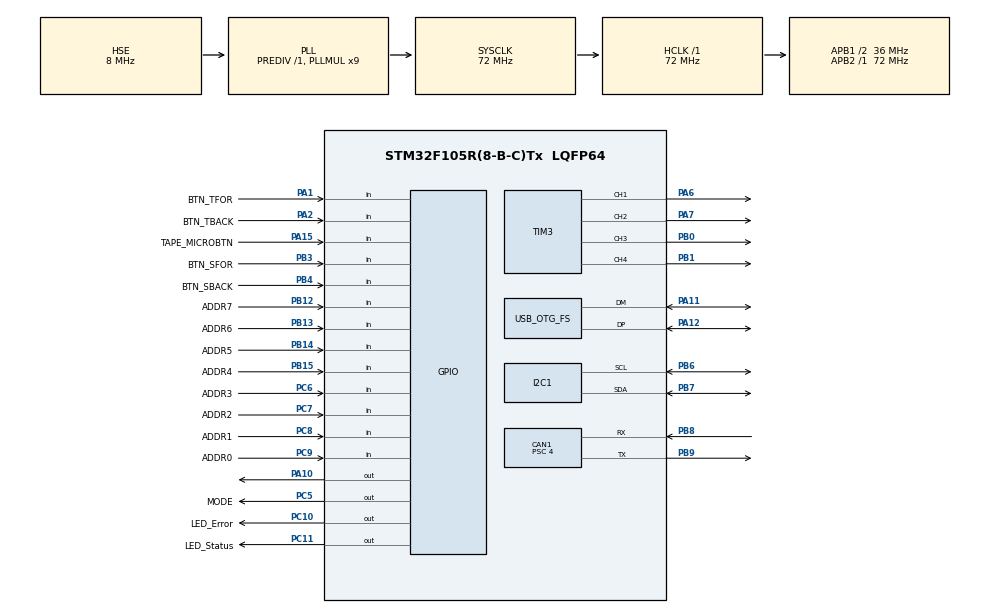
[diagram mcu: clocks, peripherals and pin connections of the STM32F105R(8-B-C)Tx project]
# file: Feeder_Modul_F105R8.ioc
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CAN1.BS1=CAN_BS1_13TQ
CAN1.BS2=CAN_BS2_4TQ
CAN1.CalculateBaudRate=500000
CAN1.CalculateTimeBit=1999.99
CAN1.CalculateTimeQuantum=111.11111111111111
CAN1.NART=ENABLE
CAN1.Prescaler=4
CAN1.SJW=CAN_SJW_4TQ
Mcu.Family=STM32F1
Mcu.Name=STM32F105R(8-B-C)Tx
Mcu.Package=LQFP64
NVIC.CAN1_RX0_IRQn=true\:0\:0\:false\:false\:true\:true\:true
NVIC.CAN1_RX1_IRQn=true\:0\:0\:false\:false\:true\:true\:true
NVIC.OTG_FS_IRQn=true\:0\:0\:false\:false\:true\:false\:true
NVIC.PriorityGroup=NVIC_PRIORITYGROUP_4
NVIC.TIM1_UP_IRQn=true\:0\:0\:false\:false\:true\:true\:true
PA1.GPIO_Label=BTN_TFOR
PA1.Signal=GPIO_Input
PA10.Signal=GPIO_Output
PA11.Mode=Host_Only
PA11.Signal=USB_OTG_FS_DM
PA12.Mode=Host_Only
PA12.Signal=USB_OTG_FS_DP
PA13.Mode=Serial_Wire
PA13.Signal=SYS_JTMS-SWDIO
PA14.Mode=Serial_Wire
PA14.Signal=SYS_JTCK-SWCLK
PA15.GPIO_Label=TAPE_MICROBTN
PA15.Signal=GPIO_Input
PA2.GPIO_Label=BTN_TBACK
PA2.Signal=GPIO_Input
PA6.Signal=S_TIM3_CH1
PA7.Signal=S_TIM3_CH2
PB0.Signal=S_TIM3_CH3
PB1.Signal=S_TIM3_CH4
PB12.GPIO_Label=ADDR7
PB12.Signal=GPIO_Input
PB13.GPIO_Label=ADDR6
PB13.Signal=GPIO_Input
PB14.GPIO_Label=ADDR5
PB14.Signal=GPIO_Input
PB15.GPIO_Label=ADDR4
PB15.Signal=GPIO_Input
PB3.GPIO_Label=BTN_SFOR
PB3.Signal=GPIO_Input
PB4.GPIO_Label=BTN_SBACK
PB4.Signal=GPIO_Input
PB6.Mode=I2C
PB6.Signal=I2C1_SCL
PB7.Mode=I2C
PB7.Signal=I2C1_SDA
PB8.Mode=CAN_Activate
PB8.Signal=CAN1_RX
PB9.Mode=CAN_Activate
PB9.Signal=CAN1_TX
PC10.GPIO_Label=LED_Error
PC10.Signal=GPIO_Output
PC11.GPIO_Label=LED_Status
PC11.Signal=GPIO_Output
PC5.GPIO_Label=MODE
PC5.Signal=GPIO_Output
PC6.GPIO_Label=ADDR3
PC6.Signal=GPIO_Input
PC7.GPIO_Label=ADDR2
PC7.Signal=GPIO_Input
PC8.GPIO_Label=ADDR1
PC8.Signal=GPIO_Input
PC9.GPIO_Label=ADDR0
PC9.Signal=GPIO_Input
PD0-OSC_IN.Mode=HSE-External-Oscillator
PD0-OSC_IN.Signal=RCC_OSC_IN
PD1-OSC_OUT.Mode=HSE-External-Oscillator
PD1-OSC_OUT.Signal=RCC_OSC_OUT
ProjectManager.HeapSize=0x200
ProjectManager.StackSize=0x400
ProjectManager.TargetToolchain=STM32CubeIDE
RCC.AHBFreq_Value=72000000
RCC.APB1CLKDivider=RCC_HCLK_DIV2
RCC.APB1Freq_Value=36000000
RCC.APB1TimFreq_Value=72000000
RCC.APB2Freq_Value=72000000
RCC.APB2TimFreq_Value=72000000
RCC.HCLKFreq_Value=72000000
RCC.PLL2Mul=RCC_PLL2_MUL13
RCC.PLLMUL=RCC_PLL_MUL9
RCC.Prediv2=RCC_HSE_PREDIV2_DIV2
RCC.SYSCLKFreq_VALUE=72000000
RCC.SYSCLKSource=RCC_SYSCLKSOURCE_PLLCLK
RCC.USBFreq_Value=48000000
SH.S_TIM3_CH1.0=TIM3_CH1,PWM Generation1 CH1
SH.S_TIM3_CH2.0=TIM3_CH2,PWM Generation2 CH2
SH.S_TIM3_CH3.0=TIM3_CH3,PWM Generation3 CH3
SH.S_TIM3_CH4.0=TIM3_CH4,PWM Generation4 CH4
TIM1.AutoReloadPreload=TIM_AUTORELOAD_PRELOAD_ENABLE
TIM1.Period=500
TIM1.Prescaler=48000
TIM3.Channel-PWM\ Generation1\ CH1=TIM_CHANNEL_1
TIM3.Channel-PWM\ Generation2\ CH2=TIM_CHANNEL_2
TIM3.Channel-PWM\ Generation3\ CH3=TIM_CHANNEL_3
TIM3.Channel-PWM\ Generation4\ CH4=TIM_CHANNEL_4
USB_HOST.BSP.number=1
USB_HOST.USBH_HandleTypeDef=hUsbHostFS
USB_HOST.VirtualModeFS=Hid
USB_HOST0.BSP.STBoard=false
USB_HOST0.BSP.api=Unknown
USB_HOST0.BSP.i2caddr=0
USB_HOST0.BSP.instance=PA10
USB_HOST0.BSP.ip=GPIO
USB_HOST0.BSP.mode=Output
USB_HOST0.BSP.name=Drive_VBUS_FS
USB_HOST0.BSP.solution=PA10
USB_OTG_FS.VirtualMode=Host_Only
VP_TIM1_VS_ClockSourceINT.Mode=Internal
VP_USB_HOST_VS_USB_HOST_HID_FS.Mode=HID_FS
board=custom

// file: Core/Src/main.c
/* USER CODE BEGIN Header */
/**
  ******************************************************************************
  * @file           : main.c
  * @brief          : Main program body
  ******************************************************************************
  * @attention
  *
  * <h2><center>&copy; Copyright (c) 2021 STMicroelectronics.
  * All rights reserved.</center></h2>
  *
  * This software component is licensed by ST under BSD 3-Clause license,
  * the "License"; You may not use this file except in compliance with the
  * License. You may obtain a copy of the License at:
  *                        opensource.org/licenses/BSD-3-Clause
  *
  ******************************************************************************
  */
/* USER CODE END Header */
#include "main.h"
#include "usb_host.h"

/* USER CODE BEGIN Includes */
#include "usbh_hid.h"
/* USER CODE END Includes */

CAN_HandleTypeDef hcan1;

I2C_HandleTypeDef hi2c1;

TIM_HandleTypeDef htim1;
TIM_HandleTypeDef htim3;

/* USER CODE BEGIN PV */

char barcode[100];
char* act_char= &barcode[0];

// variablen für can kommunikation
uint8_t ubKeyNumber = 0x0;
CAN_TxHeaderTypeDef   TxHeader;
CAN_RxHeaderTypeDef   RxHeader;
uint8_t               TxData[8];
uint8_t               RxData[8];
uint32_t              TxMailbox;

/* USER CODE END PV */

void SystemClock_Config(void);
static void MX_GPIO_Init(void);
static void MX_CAN1_Init(void);
static void MX_I2C1_Init(void);
static void MX_TIM1_Init(void);
static void MX_TIM3_Init(void);
void MX_USB_HOST_Process(void);

/* USER CODE BEGIN 0 */

void USBH_HID_EventCallback(USBH_HandleTypeDef *phost){
	if(USBH_HID_GetDeviceType(phost) == HID_KEYBOARD){
		HID_KEYBD_Info_TypeDef *keyboard_info;
		keyboard_info = USBH_HID_GetKeybdInfo(phost);
		char key = USBH_HID_GetASCIICode(keyboard_info);
		if(key == '\0')
			return;
		if(key == '\r' || key == '\n'){
			*act_char = '\0';
			act_char = &barcode[0];

		}
		else{
			*act_char++ = key;
		}

		if(act_char > &barcode[99])
			act_char = &barcode[0];

	}
}

/* USER CODE END 0 */

int main(void)
{
  /* USER CODE BEGIN 1 */
	uint8_t sprocket_started = 0;
	uint8_t tape_started = 0;

  /* USER CODE END 1 */

  /* MCU Configuration--------------------------------------------------------*/

  /* Reset of all peripherals, Initializes the Flash interface and the Systick. */
  HAL_Init();

  /* USER CODE BEGIN Init */
  //MX_GPIO_Init();
  //HAL_GPIO_WritePin(LED_Error_GPIO_Port, LED_Error_Pin, GPIO_PIN_SET);

  /* USER CODE END Init */

  /* Configure the system clock */
  SystemClock_Config();

  /* Initialize all configured peripherals */
  MX_GPIO_Init();
  MX_CAN1_Init();
  MX_USB_HOST_Init();
  MX_I2C1_Init();
  MX_TIM1_Init();
  MX_TIM3_Init();
  /* USER CODE BEGIN 2 */
  HAL_GPIO_WritePin(LED_Error_GPIO_Port, LED_Error_Pin, GPIO_PIN_SET);
  HAL_GPIO_WritePin(LED_Status_GPIO_Port, LED_Status_Pin, GPIO_PIN_RESET);
  HAL_TIM_Base_Start_IT(&htim1);

  //uint32_t tx_id;

  //configure_tx_header();

  /* USER CODE END 2 */

  /* Infinite loop */
  while (1)
  {
    MX_USB_HOST_Process();

    /* USER CODE BEGIN 3 */

    //HAL_GPIO_WritePin(PWM_A), GPIO_Pin, PinState)

    // TEST SPROCKET
    if(HAL_GPIO_ReadPin(BTN_TBACK_GPIO_Port, BTN_TBACK_Pin) == GPIO_PIN_RESET && sprocket_started == 0){
    	HAL_Delay(150);
    	if(HAL_GPIO_ReadPin(BTN_TBACK_GPIO_Port, BTN_TBACK_Pin) == GPIO_PIN_RESET){
    		sprocket_started = 1;
    		//HAL_TIMEx_PWMN_Start(&htim3, TIM_CHANNEL_1);
			//HAL_GPIO_WritePin(DIR_A_GPIO_Port, DIR_A_Pin, GPIO_PIN_SET);
    	}
    }
    if(HAL_GPIO_ReadPin(BTN_TBACK_GPIO_Port, BTN_TBACK_Pin) == GPIO_PIN_SET && sprocket_started == 1){
    	HAL_Delay(150);
    	if(HAL_GPIO_ReadPin(BTN_TBACK_GPIO_Port, BTN_TBACK_Pin) == GPIO_PIN_SET){
    		sprocket_started = 0;
    		//HAL_TIMEx_PWMN_Stop(&htim3, TIM_CHANNEL_1);
			//HAL_GPIO_WritePin(DIR_A_GPIO_Port, DIR_A_Pin, GPIO_PIN_RESET);
    	}
    }
    if(HAL_GPIO_ReadPin(BTN_TFOR_GPIO_Port, BTN_TFOR_Pin) == GPIO_PIN_RESET && sprocket_started == 0){
    	HAL_Delay(150);
    	if(HAL_GPIO_ReadPin(BTN_TFOR_GPIO_Port, BTN_TFOR_Pin) == GPIO_PIN_RESET){
    		sprocket_started = 2;
    		//HAL_TIMEx_PWMN_Start(&htim3, TIM_CHANNEL_1);
			//HAL_GPIO_WritePin(DIR_A_GPIO_Port, DIR_A_Pin, GPIO_PIN_SET);
			//HAL_GPIO_WritePin(DIR_A2_GPIO_Port, DIR_A2_Pin, GPIO_PIN_SET);
    	}
    }
    if(HAL_GPIO_ReadPin(BTN_TFOR_GPIO_Port, BTN_TFOR_Pin) == GPIO_PIN_SET && sprocket_started == 2){
    	HAL_Delay(150);
    	if(HAL_GPIO_ReadPin(BTN_TFOR_GPIO_Port, BTN_TFOR_Pin) == GPIO_PIN_SET){
    		sprocket_started = 0;
    		//HAL_TIMEx_PWMN_Stop(&htim3, TIM_CHANNEL_1);
			//HAL_GPIO_WritePin(DIR_A_GPIO_Port, DIR_A_Pin, GPIO_PIN_RESET);
			//HAL_GPIO_WritePin(DIR_A2_GPIO_Port, DIR_A2_Pin, GPIO_PIN_RESET);
    	}
    }

    // TAPE MOTOR TEST
    if(HAL_GPIO_ReadPin(BTN_SBACK_GPIO_Port, BTN_SBACK_Pin) == GPIO_PIN_RESET && tape_started == 0){
    	HAL_Delay(150);
    	if(HAL_GPIO_ReadPin(BTN_SBACK_GPIO_Port, BTN_SBACK_Pin) == GPIO_PIN_RESET){
    		tape_started = 1;
    		//HAL_TIMEx_PWMN_Start(&htim3, TIM_CHANNEL_1);
			//HAL_GPIO_WritePin(DIR_B_GPIO_Port, DIR_B_Pin, GPIO_PIN_SET);
    	}
    }
    if(HAL_GPIO_ReadPin(BTN_SBACK_GPIO_Port, BTN_SBACK_Pin) == GPIO_PIN_SET && tape_started == 1){
    	HAL_Delay(150);
    	if(HAL_GPIO_ReadPin(BTN_SBACK_GPIO_Port, BTN_SBACK_Pin) == GPIO_PIN_SET){
    		tape_started = 0;
    		//HAL_TIMEx_PWMN_Stop(&htim3, TIM_CHANNEL_1);
			//HAL_GPIO_WritePin(DIR_B_GPIO_Port, DIR_B_Pin, GPIO_PIN_RESET);
    	}
    }
    if(HAL_GPIO_ReadPin(BTN_SFOR_GPIO_Port, BTN_SFOR_Pin) == GPIO_PIN_RESET && tape_started == 0){
    	HAL_Delay(150);
    	if(HAL_GPIO_ReadPin(BTN_SFOR_GPIO_Port, BTN_SFOR_Pin) == GPIO_PIN_RESET){
    		tape_started = 2;
    		//HAL_TIMEx_PWMN_Start(&htim3, TIM_CHANNEL_1);
			//HAL_GPIO_WritePin(DIR_A_GPIO_Port, DIR_A_Pin, GPIO_PIN_SET);
			//HAL_GPIO_WritePin(DIR_B2_GPIO_Port, DIR_B2_Pin, GPIO_PIN_SET);
    	}
    }
    if(HAL_GPIO_ReadPin(BTN_SFOR_GPIO_Port, BTN_SFOR_Pin) == GPIO_PIN_SET && tape_started == 2){
    	HAL_Delay(150);
    	if(HAL_GPIO_ReadPin(BTN_SFOR_GPIO_Port, BTN_SFOR_Pin) == GPIO_PIN_SET){
    		tape_started = 0;
    		//HAL_TIMEx_PWMN_Stop(&htim3, TIM_CHANNEL_1);
			//HAL_GPIO_WritePin(DIR_A_GPIO_Port, DIR_A_Pin, GPIO_PIN_RESET);
			//HAL_GPIO_WritePin(DIR_B2_GPIO_Port, DIR_B2_Pin, GPIO_PIN_RESET);
    	}
    }

    /*HAL_GPIO_WritePin(LED_Error_GPIO_Port, LED_Error_Pin, GPIO_PIN_SET);
    HAL_GPIO_WritePin(LED_Status_GPIO_Port, LED_Status_Pin, GPIO_PIN_RESET);
    HAL_Delay(500);
    HAL_GPIO_WritePin(LED_Error_GPIO_Port, LED_Error_Pin, GPIO_PIN_RESET);
    HAL_GPIO_WritePin(LED_Status_GPIO_Port, LED_Status_Pin, GPIO_PIN_SET);
    HAL_Delay(500);*/

  }
  /* USER CODE END 3 */
}

void SystemClock_Config(void)
{
  RCC_OscInitTypeDef RCC_OscInitStruct = {0};
  RCC_ClkInitTypeDef RCC_ClkInitStruct = {0};
  RCC_PeriphCLKInitTypeDef PeriphClkInit = {0};

  /** Initializes the RCC Oscillators according to the specified parameters
  * in the RCC_OscInitTypeDef structure.
  */
  RCC_OscInitStruct.OscillatorType = RCC_OSCILLATORTYPE_HSE;
  RCC_OscInitStruct.HSEState = RCC_HSE_ON;
  RCC_OscInitStruct.HSEPredivValue = RCC_HSE_PREDIV_DIV1;
  RCC_OscInitStruct.HSIState = RCC_HSI_ON;
  RCC_OscInitStruct.Prediv1Source = RCC_PREDIV1_SOURCE_HSE;
  RCC_OscInitStruct.PLL.PLLState = RCC_PLL_ON;
  RCC_OscInitStruct.PLL.PLLSource = RCC_PLLSOURCE_HSE;
  RCC_OscInitStruct.PLL.PLLMUL = RCC_PLL_MUL9;
  RCC_OscInitStruct.PLL2.PLL2State = RCC_PLL_NONE;
  if (HAL_RCC_OscConfig(&RCC_OscInitStruct) != HAL_OK)
  {
    Error_Handler();
  }
  /** Initializes the CPU, AHB and APB buses clocks
  */
  RCC_ClkInitStruct.ClockType = RCC_CLOCKTYPE_HCLK|RCC_CLOCKTYPE_SYSCLK
                              |RCC_CLOCKTYPE_PCLK1|RCC_CLOCKTYPE_PCLK2;
  RCC_ClkInitStruct.SYSCLKSource = RCC_SYSCLKSOURCE_PLLCLK;
  RCC_ClkInitStruct.AHBCLKDivider = RCC_SYSCLK_DIV1;
  RCC_ClkInitStruct.APB1CLKDivider = RCC_HCLK_DIV2;
  RCC_ClkInitStruct.APB2CLKDivider = RCC_HCLK_DIV1;

  if (HAL_RCC_ClockConfig(&RCC_ClkInitStruct, FLASH_LATENCY_2) != HAL_OK)
  {
    Error_Handler();
  }
  PeriphClkInit.PeriphClockSelection = RCC_PERIPHCLK_USB;
  PeriphClkInit.UsbClockSelection = RCC_USBCLKSOURCE_PLL_DIV3;
  if (HAL_RCCEx_PeriphCLKConfig(&PeriphClkInit) != HAL_OK)
  {
    Error_Handler();
  }
  /** Configure the Systick interrupt time
  */
  __HAL_RCC_PLLI2S_ENABLE();
}

static void MX_CAN1_Init(void)
{

  /* USER CODE BEGIN CAN1_Init 0 */
	CAN_FilterTypeDef  sFilterConfig;

  /* USER CODE END CAN1_Init 0 */

  hcan1.Instance = CAN1;
  hcan1.Init.Prescaler = 4;
  hcan1.Init.Mode = CAN_MODE_NORMAL;
  hcan1.Init.SyncJumpWidth = CAN_SJW_4TQ;
  hcan1.Init.TimeSeg1 = CAN_BS1_13TQ;
  hcan1.Init.TimeSeg2 = CAN_BS2_4TQ;
  hcan1.Init.TimeTriggeredMode = DISABLE;
  hcan1.Init.AutoBusOff = DISABLE;
  hcan1.Init.AutoWakeUp = DISABLE;
  hcan1.Init.AutoRetransmission = ENABLE;
  hcan1.Init.ReceiveFifoLocked = DISABLE;
  hcan1.Init.TransmitFifoPriority = DISABLE;
  if (HAL_CAN_Init(&hcan1) != HAL_OK)
  {
    Error_Handler();
  }

  /* USER CODE BEGIN CAN1_Init 2 */

  // 1 Sekunde warten, um sicher zu stellen, dass der Feeder richtig gesteckt ist
  HAL_Delay(1000);

  uint8_t id = 0;
  // pins are low active
  id |=	  (HAL_GPIO_ReadPin(ADDR0_GPIO_Port, ADDR0_Pin) == GPIO_PIN_RESET ? 1 : 0) << 0;
  id |=	  (HAL_GPIO_ReadPin(ADDR1_GPIO_Port, ADDR1_Pin) == GPIO_PIN_RESET ? 1 : 0) << 1;
  id |=	  (HAL_GPIO_ReadPin(ADDR2_GPIO_Port, ADDR2_Pin) == GPIO_PIN_RESET ? 1 : 0) << 2;
  id |=	  (HAL_GPIO_ReadPin(ADDR3_GPIO_Port, ADDR3_Pin) == GPIO_PIN_RESET ? 1 : 0) << 3;
  id |=	  (HAL_GPIO_ReadPin(ADDR4_GPIO_Port, ADDR4_Pin) == GPIO_PIN_RESET ? 1 : 0) << 4;
  id |=	  (HAL_GPIO_ReadPin(ADDR5_GPIO_Port, ADDR5_Pin) == GPIO_PIN_RESET ? 1 : 0) << 5;
  id |=	  (HAL_GPIO_ReadPin(ADDR6_GPIO_Port, ADDR6_Pin) == GPIO_PIN_RESET ? 1 : 0) << 6;
  id |=	  (HAL_GPIO_ReadPin(ADDR7_GPIO_Port, ADDR7_Pin) == GPIO_PIN_RESET ? 1 : 0) << 7;

  sFilterConfig.FilterBank = 0;
  sFilterConfig.FilterMode = CAN_FILTERMODE_IDMASK;
  sFilterConfig.FilterScale = CAN_FILTERSCALE_32BIT;
  sFilterConfig.FilterIdHigh = 0xFF10;//0x0100 + id;
  //sFilterConfig.FilterIdHigh = 0x0000;
  sFilterConfig.FilterIdLow = 0x0000;
  sFilterConfig.FilterMaskIdHigh = 0x00EF;
  //sFilterConfig.FilterMaskIdHigh = 0x0000;
  sFilterConfig.FilterMaskIdLow = 0xFFFF;
  sFilterConfig.FilterFIFOAssignment = CAN_RX_FIFO0;
  sFilterConfig.FilterActivation = ENABLE;
  sFilterConfig.SlaveStartFilterBank = 14;

  if (HAL_CAN_ConfigFilter(&hcan1, &sFilterConfig) != HAL_OK)
  {
    /* Filter configuration Error */
    Error_Handler();
  }

  /* Start the CAN peripheral */
  if (HAL_CAN_Start(&hcan1) != HAL_OK)
  {
    /* Start Error */
    Error_Handler();
  }

  /* Activate CAN RX notification */
  if (HAL_CAN_ActivateNotification(&hcan1, CAN_IT_RX_FIFO0_MSG_PENDING) != HAL_OK)
  {
    /* Notification Error */
    Error_Handler();
  }

  /* USER CODE END CAN1_Init 2 */

}

static void MX_I2C1_Init(void)
{

  hi2c1.Instance = I2C1;
  hi2c1.Init.ClockSpeed = 100000;
  hi2c1.Init.DutyCycle = I2C_DUTYCYCLE_2;
  hi2c1.Init.OwnAddress1 = 0;
  hi2c1.Init.AddressingMode = I2C_ADDRESSINGMODE_7BIT;
  hi2c1.Init.DualAddressMode = I2C_DUALADDRESS_DISABLE;
  hi2c1.Init.OwnAddress2 = 0;
  hi2c1.Init.GeneralCallMode = I2C_GENERALCALL_DISABLE;
  hi2c1.Init.NoStretchMode = I2C_NOSTRETCH_DISABLE;
  if (HAL_I2C_Init(&hi2c1) != HAL_OK)
  {
    Error_Handler();
  }

}

static void MX_TIM1_Init(void)
{

  TIM_ClockConfigTypeDef sClockSourceConfig = {0};
  TIM_MasterConfigTypeDef sMasterConfig = {0};

  htim1.Instance = TIM1;
  htim1.Init.Prescaler = 48000;
  htim1.Init.CounterMode = TIM_COUNTERMODE_UP;
  htim1.Init.Period = 500;
  htim1.Init.ClockDivision = TIM_CLOCKDIVISION_DIV1;
  htim1.Init.RepetitionCounter = 0;
  htim1.Init.AutoReloadPreload = TIM_AUTORELOAD_PRELOAD_ENABLE;
  if (HAL_TIM_Base_Init(&htim1) != HAL_OK)
  {
    Error_Handler();
  }
  sClockSourceConfig.ClockSource = TIM_CLOCKSOURCE_INTERNAL;
  if (HAL_TIM_ConfigClockSource(&htim1, &sClockSourceConfig) != HAL_OK)
  {
    Error_Handler();
  }
  sMasterConfig.MasterOutputTrigger = TIM_TRGO_RESET;
  sMasterConfig.MasterSlaveMode = TIM_MASTERSLAVEMODE_DISABLE;
  if (HAL_TIMEx_MasterConfigSynchronization(&htim1, &sMasterConfig) != HAL_OK)
  {
    Error_Handler();
  }

}

static void MX_TIM3_Init(void)
{

  TIM_MasterConfigTypeDef sMasterConfig = {0};
  TIM_OC_InitTypeDef sConfigOC = {0};

  htim3.Instance = TIM3;
  htim3.Init.Prescaler = 0;
  htim3.Init.CounterMode = TIM_COUNTERMODE_UP;
  htim3.Init.Period = 65535;
  htim3.Init.ClockDivision = TIM_CLOCKDIVISION_DIV1;
  htim3.Init.AutoReloadPreload = TIM_AUTORELOAD_PRELOAD_DISABLE;
  if (HAL_TIM_PWM_Init(&htim3) != HAL_OK)
  {
    Error_Handler();
  }
  sMasterConfig.MasterOutputTrigger = TIM_TRGO_RESET;
  sMasterConfig.MasterSlaveMode = TIM_MASTERSLAVEMODE_DISABLE;
  if (HAL_TIMEx_MasterConfigSynchronization(&htim3, &sMasterConfig) != HAL_OK)
  {
    Error_Handler();
  }
  sConfigOC.OCMode = TIM_OCMODE_PWM1;
  sConfigOC.Pulse = 0;
  sConfigOC.OCPolarity = TIM_OCPOLARITY_HIGH;
  sConfigOC.OCFastMode = TIM_OCFAST_DISABLE;
  if (HAL_TIM_PWM_ConfigChannel(&htim3, &sConfigOC, TIM_CHANNEL_1) != HAL_OK)
  {
    Error_Handler();
  }
  if (HAL_TIM_PWM_ConfigChannel(&htim3, &sConfigOC, TIM_CHANNEL_2) != HAL_OK)
  {
    Error_Handler();
  }
  if (HAL_TIM_PWM_ConfigChannel(&htim3, &sConfigOC, TIM_CHANNEL_3) != HAL_OK)
  {
    Error_Handler();
  }
  if (HAL_TIM_PWM_ConfigChannel(&htim3, &sConfigOC, TIM_CHANNEL_4) != HAL_OK)
  {
    Error_Handler();
  }
  HAL_TIM_MspPostInit(&htim3);

}

static void MX_GPIO_Init(void)
{
  GPIO_InitTypeDef GPIO_InitStruct = {0};

  /* GPIO Ports Clock Enable */
  __HAL_RCC_GPIOD_CLK_ENABLE();
  __HAL_RCC_GPIOA_CLK_ENABLE();
  __HAL_RCC_GPIOC_CLK_ENABLE();
  __HAL_RCC_GPIOB_CLK_ENABLE();

  /*Configure GPIO pin Output Level */
  HAL_GPIO_WritePin(GPIOC, MODE_Pin|LED_Error_Pin|LED_Status_Pin, GPIO_PIN_RESET);

  /*Configure GPIO pin Output Level */
  HAL_GPIO_WritePin(GPIOA, GPIO_PIN_10, GPIO_PIN_RESET);

  /*Configure GPIO pins : BTN_TFOR_Pin BTN_TBACK_Pin TAPE_MICROBTN_Pin */
  GPIO_InitStruct.Pin = BTN_TFOR_Pin|BTN_TBACK_Pin|TAPE_MICROBTN_Pin;
  GPIO_InitStruct.Mode = GPIO_MODE_INPUT;
  GPIO_InitStruct.Pull = GPIO_NOPULL;
  HAL_GPIO_Init(GPIOA, &GPIO_InitStruct);

  /*Configure GPIO pins : MODE_Pin LED_Error_Pin LED_Status_Pin */
  GPIO_InitStruct.Pin = MODE_Pin|LED_Error_Pin|LED_Status_Pin;
  GPIO_InitStruct.Mode = GPIO_MODE_OUTPUT_PP;
  GPIO_InitStruct.Pull = GPIO_NOPULL;
  GPIO_InitStruct.Speed = GPIO_SPEED_FREQ_LOW;
  HAL_GPIO_Init(GPIOC, &GPIO_InitStruct);

  /*Configure GPIO pins : ADDR7_Pin ADDR6_Pin ADDR5_Pin ADDR4_Pin
                           BTN_SFOR_Pin BTN_SBACK_Pin */
  GPIO_InitStruct.Pin = ADDR7_Pin|ADDR6_Pin|ADDR5_Pin|ADDR4_Pin
                          |BTN_SFOR_Pin|BTN_SBACK_Pin;
  GPIO_InitStruct.Mode = GPIO_MODE_INPUT;
  GPIO_InitStruct.Pull = GPIO_NOPULL;
  HAL_GPIO_Init(GPIOB, &GPIO_InitStruct);

  /*Configure GPIO pins : ADDR3_Pin ADDR2_Pin ADDR1_Pin ADDR0_Pin */
  GPIO_InitStruct.Pin = ADDR3_Pin|ADDR2_Pin|ADDR1_Pin|ADDR0_Pin;
  GPIO_InitStruct.Mode = GPIO_MODE_INPUT;
  GPIO_InitStruct.Pull = GPIO_NOPULL;
  HAL_GPIO_Init(GPIOC, &GPIO_InitStruct);

  /*Configure GPIO pin : PA10 */
  GPIO_InitStruct.Pin = GPIO_PIN_10;
  GPIO_InitStruct.Mode = GPIO_MODE_OUTPUT_PP;
  GPIO_InitStruct.Pull = GPIO_NOPULL;
  GPIO_InitStruct.Speed = GPIO_SPEED_FREQ_LOW;
  HAL_GPIO_Init(GPIOA, &GPIO_InitStruct);

}

/* USER CODE BEGIN 4 */

/**
  * @brief  Rx Fifo 0 message pending callback in non blocking mode
  * @param  CanHandle: pointer to a CAN_HandleTypeDef structure that contains
  *         the configuration information for the specified CAN.
  * @retval None
  */
void HAL_CAN_RxFifo0MsgPendingCallback(CAN_HandleTypeDef *CanHandle)
{
  /* Get RX message */
  if (HAL_CAN_GetRxMessage(CanHandle, CAN_RX_FIFO0, &RxHeader, RxData) != HAL_OK)
  {
    /* Reception Error */
    Error_Handler();
  }

  /* Display LEDx */
  if((RxHeader.IDE == CAN_ID_EXT) && (RxHeader.ExtId ==  0x01000000)){
	  if( RxData[0] == 0x01){
		  HAL_GPIO_WritePin(LED_Error_GPIO_Port, LED_Error_Pin, RxData[1]> 0);
	  }
  }

/*  if (((RxHeader.StdId == 0x001)||)&& (RxHeader.IDE == CAN_ID_STD) && (RxHeader.DLC == 2))
  {
	  if( RxData[0] == 0x01){
		  HAL_GPIO_WritePin(LED_Error_GPIO_Port, LED_Error_Pin, RxData[1]> 0);
	  }
    //ubKeyNumber = RxData[0];
  }
  */
}

void configure_tx_header(uint32_t id){

	  /* Configure Transmission process */
	  TxHeader.StdId = id;
	  TxHeader.ExtId = id + 1000;
	  TxHeader.RTR = CAN_RTR_DATA;
	  TxHeader.IDE = CAN_ID_STD;
	  TxHeader.DLC = 2;
	  TxHeader.TransmitGlobalTime = DISABLE;
}

/* USER CODE END 4 */

void Error_Handler(void)
{
  __disable_irq();
  while (1)
  {
  }
}

/************************ (C) COPYRIGHT STMicroelectronics *****END OF FILE****/
